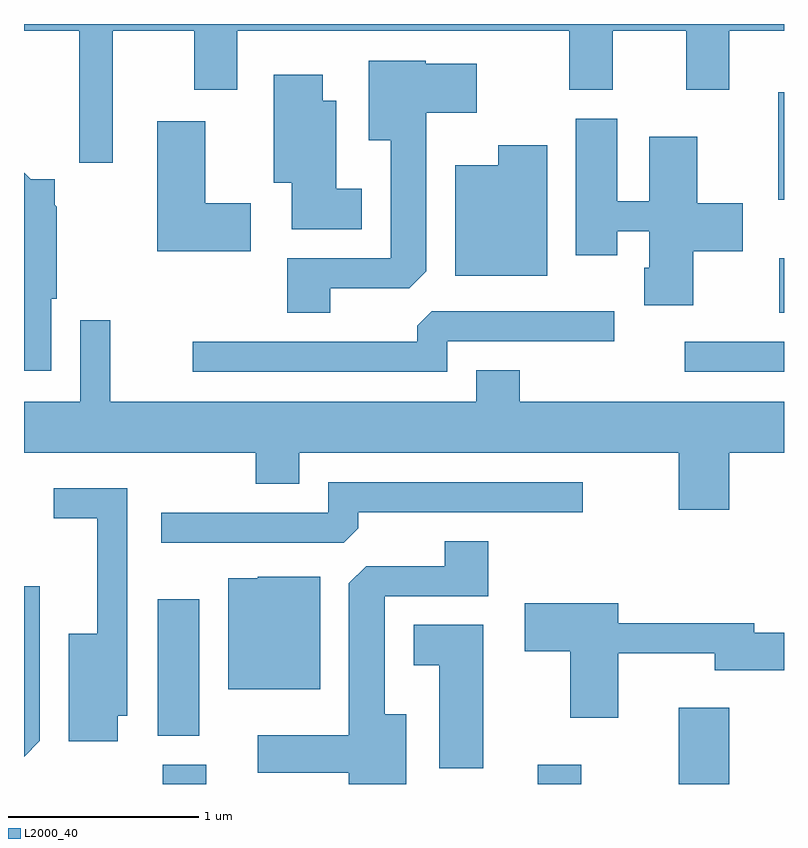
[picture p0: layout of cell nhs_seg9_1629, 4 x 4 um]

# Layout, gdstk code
import gdstk
lib = gdstk.Library(unit=1e-6, precision=1e-09)
def R(c, l, rs):  # rectangles x0, y0, x1, y1
    for r in rs: c.add(gdstk.rectangle(r[:2], r[2:], *l))
def P(c, l, *ps):  # polygons
    for p in ps: c.add(gdstk.Polygon(p, *l))
L2000_40 = (2000, 40)

nhs_seg9_1629 = lib.new_cell('nhs_seg9_1629')
R(nhs_seg9_1629, L2000_40, [(232.341,2074.432,232.569,2074.534), (234.316,2074.432,234.544,2074.534), (235.056,2074.432,235.324,2074.834), (232.316,2074.686,232.534,2075.404), (235.088,2076.601,235.611,2076.759), (235.586,2076.911,235.611,2077.199), (235.581,2077.506,235.611,2078.074)])
P(nhs_seg9_1629, L2000_40, [(232.079,2078.396),(232.506,2078.396),(232.506,2078.086),(232.734,2078.086),(232.734,2078.396),(234.481,2078.396),(234.481,2078.086),(234.709,2078.086),(234.709,2078.396),(235.096,2078.396),(235.096,2078.086),(235.324,2078.086),(235.324,2078.396),(235.611,2078.396),(235.611,2078.432),(231.611,2078.432),(231.611,2078.396),(231.901,2078.396),(231.901,2077.701),(232.079,2077.701)],
  [(233.224,2077.041),(233.639,2077.041),(233.729,2077.132),(233.729,2077.966),(233.994,2077.966),(233.994,2078.224),(233.725,2078.224),(233.725,2078.239),(233.426,2078.239),(233.426,2077.821),(233.541,2077.821),(233.541,2077.199),(232.996,2077.199),(232.996,2076.911),(233.224,2076.911)],
  [(233.389,2077.564),(233.254,2077.564),(233.254,2078.029),(233.184,2078.029),(233.184,2078.164),(232.926,2078.164),(232.926,2077.596),(233.021,2077.596),(233.021,2077.351),(233.389,2077.351)],
  [(235.134,2077.236),(235.394,2077.236),(235.394,2077.489),(235.154,2077.489),(235.154,2077.839),(234.901,2077.839),(234.901,2077.499),(234.734,2077.499),(234.734,2077.934),(234.516,2077.934),(234.516,2077.216),(234.734,2077.216),(234.734,2077.341),(234.901,2077.341),(234.901,2077.149),(234.876,2077.149),(234.876,2076.951),(235.134,2076.951)],
  [(232.804,2077.489),(232.564,2077.489),(232.564,2077.919),(232.311,2077.919),(232.311,2077.236),(232.804,2077.236)],
  [(234.364,2077.794),(234.106,2077.794),(234.106,2077.689),(233.881,2077.689),(233.881,2077.106),(234.364,2077.106)],
  [(231.754,2076.986),(231.784,2076.986),(231.784,2077.471),(231.774,2077.481),(231.774,2077.614),(231.647,2077.614),(231.611,2077.65),(231.611,2076.606),(231.754,2076.606)],
  [(233.839,2076.761),(234.718,2076.761),(234.718,2076.919),(233.757,2076.919),(233.681,2076.844),(233.681,2076.759),(232.498,2076.759),(232.498,2076.601),(233.839,2076.601)],
  [(235.324,2076.176),(235.611,2076.176),(235.611,2076.444),(234.219,2076.444),(234.219,2076.609),(233.991,2076.609),(233.991,2076.444),(232.064,2076.444),(232.064,2076.873),(231.906,2076.873),(231.906,2076.444),(231.611,2076.444),(231.611,2076.176),(232.831,2076.176),(232.831,2076.011),(233.059,2076.011),(233.059,2076.176),(235.056,2076.176),(235.056,2075.876),(235.324,2075.876)],
  [(233.369,2075.777),(233.369,2075.861),(234.553,2075.861),(234.553,2076.019),(233.211,2076.019),(233.211,2075.859),(232.333,2075.859),(232.333,2075.701),(233.294,2075.701)],
  [(232.104,2074.791),(232.154,2074.791),(232.154,2075.989),(231.768,2075.989),(231.768,2075.831),(231.996,2075.831),(231.996,2075.224),(231.846,2075.224),(231.846,2074.656),(232.104,2074.656)],
  [(233.624,2074.799),(233.509,2074.799),(233.509,2075.421),(234.054,2075.421),(234.054,2075.709),(233.826,2075.709),(233.826,2075.579),(233.412,2075.579),(233.321,2075.489),(233.321,2074.689),(232.841,2074.689),(232.841,2074.491),(233.321,2074.491),(233.321,2074.432),(233.624,2074.432)],
  [(233.169,2075.524),(232.84,2075.524),(232.84,2075.514),(232.686,2075.514),(232.686,2074.931),(233.169,2074.931)],
  [(231.694,2074.659),(231.694,2075.472),(231.611,2075.472),(231.611,2074.576)],
  [(234.739,2075.121),(235.246,2075.121),(235.246,2075.031),(235.611,2075.031),(235.611,2075.229),(235.454,2075.229),(235.454,2075.279),(234.739,2075.279),(234.739,2075.384),(234.246,2075.384),(234.246,2075.131),(234.486,2075.131),(234.486,2074.781),(234.739,2074.781)],
  [(234.029,2075.269),(233.661,2075.269),(233.661,2075.056),(233.796,2075.056),(233.796,2074.516),(234.029,2074.516)])

lib.write_gds('nhs_seg9_1629.gds')
